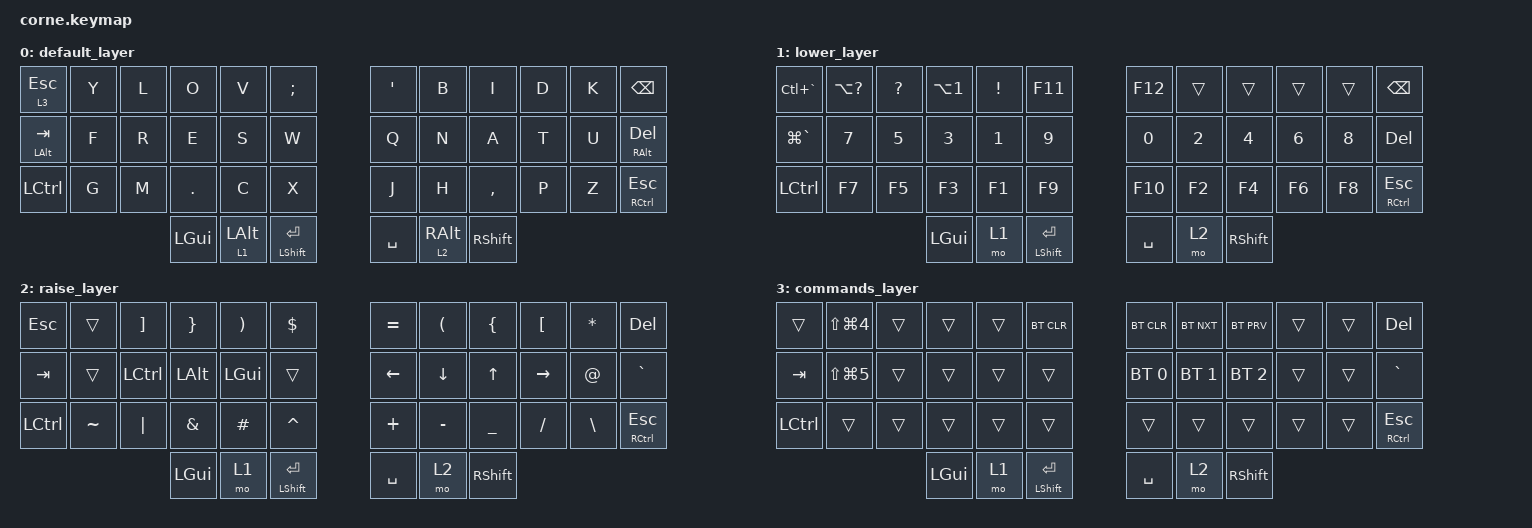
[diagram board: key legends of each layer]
/*
 * Copyright (c) 2020 The ZMK Contributors
 *
 * SPDX-License-Identifier: MIT
 */

#include <behaviors.dtsi>
#include <dt-bindings/zmk/keys.h>
#include <dt-bindings/zmk/bt.h>

/ {
        keymap {
                compatible = "zmk,keymap";

                default_layer {
                        bindings = <
   &lt 3 ESC &kp Y &kp L &kp O   &kp V &kp SEMI &kp SQT &kp B  &kp I     &kp D   &kp K  &kp BSPC
   &mt LALT TAB   &kp F &kp R &kp E   &kp S &kp W    &kp Q   &kp N  &kp A     &kp T   &kp U  &mt RALT DEL
   &kp LCTRL &kp G &kp M &kp DOT &kp C &kp X    &kp J   &kp H  &kp COMMA &kp P   &kp Z  &mt RCTRL ESC
                &kp LGUI &lt 1 LALT &mt LSHFT RET     &kp SPACE &lt 2 RALT &kp RSHFT
                        >;
                };
                lower_layer {
                        bindings = <
   &kp LC(GRAVE)  &kp LA(QMARK) &kp QMARK    &kp LA(N1)  &kp EXCL    &kp F11      &kp F12 &trans  &trans &trans &trans  &kp BSPC
   &kp LG(GRAVE)  &kp N7        &kp N5       &kp N3      &kp N1      &kp N9       &kp N0  &kp N2  &kp N4 &kp N6 &kp N8  &kp DEL
   &kp LCTRL      &kp F7        &kp F5       &kp F3      &kp F1      &kp F9       &kp F10 &kp F2  &kp F4 &kp F6 &kp F8  &mt RCTRL ESC
                &kp LGUI &mo 1 &mt LSHFT RET     &kp SPACE &mo 2 &kp RSHFT
                        >;
                };

                raise_layer {
                        bindings = <
   &kp ESC   &trans    &kp RBKT  &kp RBRC  &kp RPAR &kp DLLR      &kp EQUAL &kp LPAR  &kp LBRC  &kp LBKT  &kp STAR &kp DEL
   &kp TAB   &trans    &kp LCTRL &kp LALT  &kp LGUI &trans        &kp LEFT  &kp DOWN  &kp UP    &kp RIGHT &kp AT   &kp GRAVE
   &kp LCTRL &kp TILDE &kp PIPE  &kp AMPS  &kp HASH &kp CARET     &kp PLUS  &kp MINUS &kp UNDER &kp FSLH  &kp BSLH &mt RCTRL ESC
                &kp LGUI &mo 1 &mt LSHFT RET     &kp SPACE &mo 2 &kp RSHFT
                        >;
                };

                commands_layer {
                        bindings = <
   &trans    &kp LS(LG(N4)) &trans &trans &trans &bt BT_CLR    &bt BT_CLR    &bt BT_NXT    &bt BT_PRV   &trans  &trans  &kp DEL
   &kp TAB   &kp LS(LG(N5)) &trans &trans &trans &trans        &bt BT_SEL 0  &bt BT_SEL 1  &bt BT_SEL 2 &trans  &trans  &kp GRAVE
   &kp LCTRL &trans         &trans &trans &trans &trans        &trans        &trans        &trans       &trans  &trans  &mt RCTRL ESC
                &kp LGUI &mo 1 &mt LSHFT RET     &kp SPACE &mo 2 &kp RSHFT
                        >;
                };
        };
};
